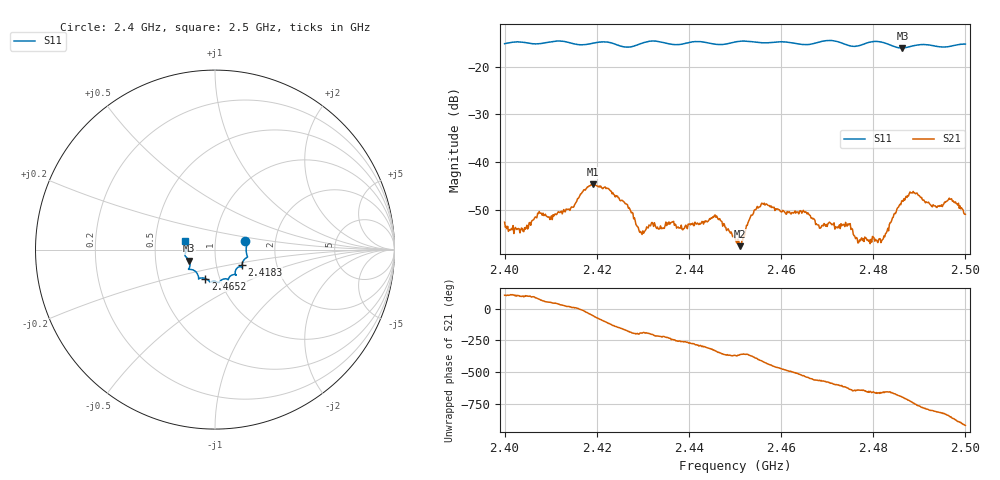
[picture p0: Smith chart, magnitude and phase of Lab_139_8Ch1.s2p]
# Hz S RI R 50
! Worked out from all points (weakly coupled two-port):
!   601 points, 2.4 GHz to 2.5 GHz, reference 50 ohm
!   highest |S21| = -44.68 dB at 2.4192 GHz (marker M1); lowest = -57.7 dB at 2.451 GHz (marker M2)
!   lowest |S11| = -16.1 dB at 2.4863 GHz (marker M3), VSWR 1.37, Z = 37.2 - j4.75 ohm
!   |S11| at or under -10 dB: start of sweep to end of sweep
!   S12 and S22 are empty: the file has one direction only
!   S11 on the Smith chart (normalised r, x): 2.4 GHz: 1.40, +0.14; 2.4183 GHz: 1.33, -0.24; 2.4652 GHz: 0.85, -0.28; 2.5 GHz: 0.71, +0.07
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2.4e9  0.1677 0.047  -0.000587 0.00225  0 0  0 0
2.4045e9  0.1773 0.0231  -0.000394 0.00193  0 0  0 0
2.416667e9  0.1552 -0.0678  0.00457 -0.000806  0 0  0 0
2.418333e9  0.15 -0.0861  0.00429 -0.00361  0 0  0 0
2.419167e9  0.1495 -0.0932  0.00328 -0.00482  0 0  0 0
2.426167e9  0.1248 -0.1012  -0.00356 -0.000798  0 0  0 0
2.429667e9  0.1129 -0.1338  -0.00176 0.000357  0 0  0 0
2.433333e9  0.117 -0.1415  -0.00159 0.00118  0 0  0 0
2.445667e9  0.0571 -0.1623  0.00241 0.00138  0 0  0 0
2.45e9  0.0258 -0.1794  0.00158 -0.0002  0 0  0 0
2.451e9  0.023 -0.1829  0.0013 -4.87e-05  0 0  0 0
2.455833e9  0.000976 -0.178  0.00226 -0.00292  0 0  0 0
2.465167e9  -0.0544 -0.1613  -0.00293 -0.000339  0 0  0 0
2.466667e9  -0.0706 -0.1578  -0.00254 0.000513  0 0  0 0
2.4745e9  -0.0977 -0.1362  -0.000202 0.00223  0 0  0 0
2.477167e9  -0.123 -0.1132  0.000285 0.00146  0 0  0 0
2.4815e9  -0.1467 -0.108  0.000752 0.00137  0 0  0 0
2.483333e9  -0.1413 -0.0966  0.000835 0.0017  0 0  0 0
2.486333e9  -0.144 -0.0623  0.0036 0.00158  0 0  0 0
2.4885e9  -0.1589 -0.0432  0.00451 -0.00139  0 0  0 0
2.496833e9  -0.1619 0.0247  -0.00256 -0.00316  0 0  0 0
2.5e9  -0.1659 0.0476  -0.00268 0.000875  0 0  0 0
